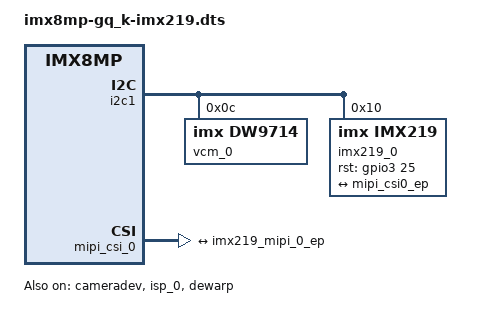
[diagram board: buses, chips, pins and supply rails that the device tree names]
// SPDX-License-Identifier: (GPL-2.0+ OR MIT)
/*
 * Copyright 2022 NXP
 *
 * This program is free software; you can redistribute it and/or
 * modify it under the terms of the GNU General Public License
 * as published by the Free Software Foundation; either version 2
 * of the License, or (at your option) any later version.
 *
 * This program is distributed in the hope that it will be useful,
 * but WITHOUT ANY WARRANTY; without even the implied warranty of
 * MERCHANTABILITY or FITNESS FOR A PARTICULAR PURPOSE.  See the
 * GNU General Public License for more details.
 */

/dts-v1/;

#include "imx8mp-gq_k.dts"

&i2c1 {
	vcm_0: dw9714@c {
		compatible = "imx,dw9714";
		reg = <0x0c>;
		id = <10>;
	};

	imx219_0: imx219_mipi@10 {
		compatible = "imx,imx219";
		reg = <0x10>;
		pinctrl-names = "default";
		pinctrl-0 = <&pinctrl_csi0_rst>, <&pinctrl_csi0_mclk>;
		clocks = <&clk IMX8MP_CLK_IPP_DO_CLKO1>;
		clock-names = "xclk";
		assigned-clocks = <&clk IMX8MP_CLK_IPP_DO_CLKO1>;
		assigned-clock-parents = <&clk IMX8MP_CLK_24M>;
		assigned-clock-rates = <24000000>;
		csi_id = <0>;
		rst-gpios = <&gpio3 25 GPIO_ACTIVE_HIGH>;
		mclk = <24000000>;
		mclk_source = <0>;

		lens-focus = <&vcm_0>;

		mipi_csi;
		status = "okay";

		port {
			imx219_mipi_0_ep: endpoint {
				remote-endpoint = <&mipi_csi0_ep>;
				data-lanes = <1 2>;
				clock-lanes = <0>;
				clock-noncontinuous;
				max-pixel-frequency = /bits/ 64 <456000000>;
			};
		};
	};
};

&iomuxc {
	pinctrl_csi0_rst: csi0_rst_grp {
		fsl,pins = <
			MX8MP_IOMUXC_SAI5_MCLK__GPIO3_IO25		0x10
		>;
	};

	pinctrl_csi0_mclk: csi0_mclk_grp {
		fsl,pins = <
			MX8MP_IOMUXC_GPIO1_IO14__CCM_CLKO1	0x50
		>;
	};
};

&cameradev {
	status = "okay";
};

&isp_0 {
	status = "okay";
};

&dewarp {
	status = "okay";
};

&mipi_csi_0 {
	#address-cells = <1>;
	#size-cells = <0>;
	status = "okay";

	port@0 {
		reg = <0>;
		mipi_csi0_ep: endpoint {
			remote-endpoint = <&imx219_mipi_0_ep>;
			data-lanes = <2>;
			csis-hs-settle = <16>;
			csis-clk-settle = <2>;
			csis-wclk;
		};
	};
};
